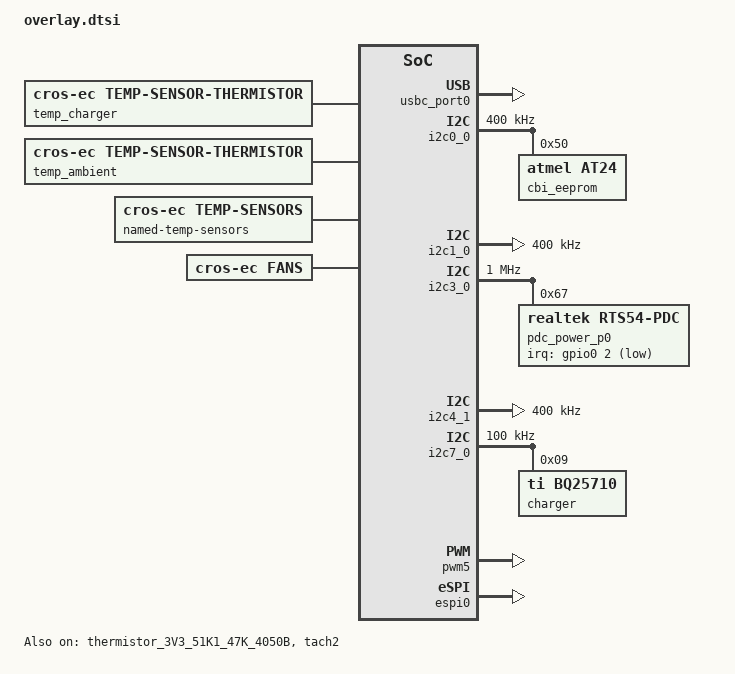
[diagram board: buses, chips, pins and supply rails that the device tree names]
/* Copyright 2024 The ChromiumOS Authors
 * Use of this source code is governed by a BSD-style license that can be
 * found in the LICENSE file.
 */

#include <cros/thermistor/thermistor.dtsi>
#include <dt-bindings/usbc_mux.h>
#include <dt-bindings/usb_pd_tcpm.h>
#include <usbc-policy.dtsi>

/ {
	batteries {
		default_battery: cosmx_ap20cbl-4 {
			compatible = "cosmx,ap20cbl-4", "battery-smart";
		};
		lges_ap23a8l {
			compatible = "lges,ap23a8l", "battery-smart";
		};
		panasonic_ap23a5l {
			compatible = "panasonic,ap23a5l", "battery-smart";
		};
	};

	temp_memory: memory {
		compatible = "cros-ec,temp-sensor-thermistor";
		thermistor = <&thermistor_3V3_51K1_47K_4050B>;
		adc = <&adc_temp_sensor_1>;
	};
	temp_charger: charger {
		compatible = "cros-ec,temp-sensor-thermistor";
		thermistor = <&thermistor_3V3_51K1_47K_4050B>;
		adc = <&adc_temp_sensor_2>;
	};
	temp_ambient: ambient {
		compatible = "cros-ec,temp-sensor-thermistor";
		thermistor = <&thermistor_3V3_51K1_47K_4050B>;
		adc = <&adc_temp_sensor_3>;
	};

	named-temp-sensors {
		compatible = "cros-ec,temp-sensors";
		memory {
			temp_fan_off = <35>;
			temp_fan_max = <70>;
			power-good-pin = <&gpio_ec_soc_dsw_pwrok>;
			sensor = <&temp_memory>;
		};
		charger {
			power-good-pin = <&gpio_ec_soc_dsw_pwrok>;
			sensor = <&temp_charger>;
		};
		ambient {
			power-good-pin = <&gpio_ec_soc_dsw_pwrok>;
			sensor = <&temp_ambient>;
		};
	};

	usba {
		compatible = "cros-ec,usba-port-enable-pins";
		/*
		 * sb_2 is only configured as GPIO when USB-A1 is present,
		 * but it's still safe to control when disabled.
		 *
		 * ILIM_SEL pins are referred to by legacy enum name,
		 * GPIO_USB*_ILIM_SEL. The one for port A1 is unused on
		 * sub-boards that don't have USB-A so is safe to control
		 * regardless of system configuration.
		 */
		enable-pins = <&gpio_en_usb_a0_vbus &gpio_en_sub_usb_a1_vbus>;
		status = "okay";
	};

	usbc {
		#address-cells = <1>;
		#size-cells = <0>;
		usbc_port0: port0@0 {
			compatible = "named-usbc-port";
			reg = <0>;
			chg = <&charger>;
			pdc = <&pdc_power_p0>;
			policy = <&cros_policy>;
		};
	};

	fans {
		compatible = "cros-ec,fans";

		fan_0 {
			pwms = <&pwm5 5 PWM_KHZ(25) PWM_POLARITY_NORMAL>;
			rpm_min = <2200>;
			rpm_start = <2200>;
			rpm_max = <6900>;
			tach = <&tach2>;
			enable_gpio = <&gpio_fan_enable>;
		};
	};
};

&thermistor_3V3_51K1_47K_4050B {
	status = "okay";
};

&adc_ec_vsense_pp3300_s5 {
	/*
	 * Voltage divider on input has 47k upper and 220k lower legs with
	 * 2714 mV full-scale reading on the ADC. Apply the largest possible
	 * multiplier (without overflowing int32) to get the best possible
	 * approximation of the actual ratio, but derate by a factor of two to
	 * ensure unexpectedly high values won't overflow.
	 */
	mul = <(791261 / 2)>;
	div = <(651975 / 2)>;
};

/* Set bus speeds for I2C */
&i2c0_0 {
	label = "I2C_EEPROM";
	clock-frequency = <I2C_BITRATE_FAST>;

	cbi_eeprom: eeprom@50 {
		compatible = "atmel,at24";
		reg = <0x50>;
		size = <2048>;
		pagesize = <16>;
		address-width = <8>;
		timeout = <5>;
	};
};

&i2c1_0 {
	label = "I2C_SENSOR";
	clock-frequency = <I2C_BITRATE_FAST>;
};

&i2c3_0 {
	label = "I2C_PORT_PD";
	clock-frequency = <I2C_BITRATE_FAST_PLUS>;

	pdc_power_p0: rts54-pdc@67 {
		compatible = "realtek,rts54-pdc";
		reg = <0x67>;
		irq-gpios = <&gpio0 2 GPIO_ACTIVE_LOW>;
	};
};

&i2c4_1 {
	clock-frequency = <I2C_BITRATE_FAST>;
};

&i2c7_0 {
	label = "I2C_BATTERY";
	label = "I2C_PORT_CHARGER";

	clock-frequency = <I2C_BITRATE_STANDARD>;
	charger: bq25710@9 {
		compatible = "ti,bq25710";
		status = "okay";
		reg = <0x9>;
	};
};

&pwm5_gpb7 {
	drive-open-drain;
};

&pwm5 {
	status = "okay";
	pinctrl-0 = <&pwm5_gpb7>;
	pinctrl-names = "default";
};

/* Tachometer for fan speed measurement */
&tach2 {
	status = "okay";
	pinctrl-0 = <&ta2_1_in_gp73>;
	pinctrl-names = "default";
	port = <NPCX_TACH_PORT_A>; /* port-A is selected */
	sample-clk = <NPCX_TACH_FREQ_LFCLK>; /* Use LFCLK as sampling clock */
	pulses-per-round = <2>; /* number of pulses per round of encoder */
};

/* host interface */
&espi0 {
	status = "okay";
	pinctrl-0 = <&espi_lpc_gp46_47_51_52_53_54_55_57>;
	pinctrl-names = "default";
};

/*
 * Declare GPIOs that have leakage current caused by board issues here. NPCX ec
 * will disable their input buffers before entering deep sleep and restore them
 * after waking up automatically for better power consumption.
 */
&power_leakage_io {
	leak-gpios = <&gpioa 4 GPIO_OPEN_DRAIN
		      &gpiof 1 GPIO_OPEN_DRAIN>;
};
